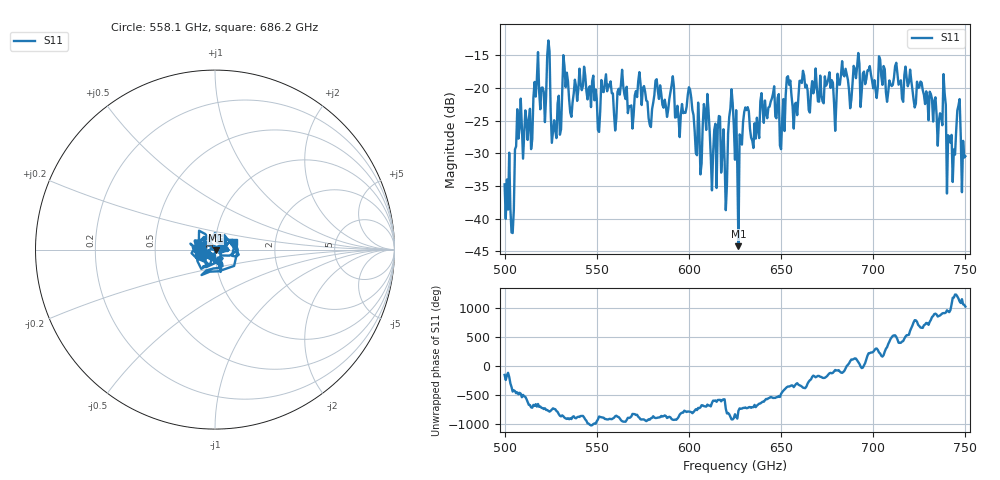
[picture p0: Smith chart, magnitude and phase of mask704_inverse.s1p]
!Created with skrf (http://scikit-rf.org).
# GHz S MA R 50.0
!freq magS11 angS11
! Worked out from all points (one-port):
!   401 points, 500 GHz to 750 GHz, reference 50 ohm
!   lowest |S11| = -44.2 dB at 626.9 GHz (marker M1), VSWR 1.01, Z = 50.4 - j0.472 ohm
!   |S11| at or under -10 dB: start of sweep to end of sweep
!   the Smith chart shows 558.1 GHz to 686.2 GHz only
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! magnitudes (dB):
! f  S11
! 500 GHz  -34.8
! 504.4 GHz  -42.2
! 507.5 GHz  -27.8
! 513.8 GHz  -23.2
! 516.9 GHz  -21.3
! 523.8 GHz  -12.7
! 526.9 GHz  -24.9
! 531.2 GHz  -20.7
! 562.5 GHz  -21.0
! 579.4 GHz  -26.0
! 590.6 GHz  -19.6
! 593.8 GHz  -22.7
! 600.6 GHz  -20.3
! 605.6 GHz  -26.0
! 609.4 GHz  -26.4
! 619.4 GHz  -31.3
! 622.5 GHz  -23.1
! 625 GHz  -31.0
! 626.9 GHz  -44.2
! 631.2 GHz  -23.4
! 635 GHz  -29.2
! 656.2 GHz  -22.9
! 687.5 GHz  -23.1
! 718.8 GHz  -19.7
! 738.1 GHz  -17.9
! 743.1 GHz  -34.4
! 746.2 GHz  -22.7
! 750 GHz  -30.5
